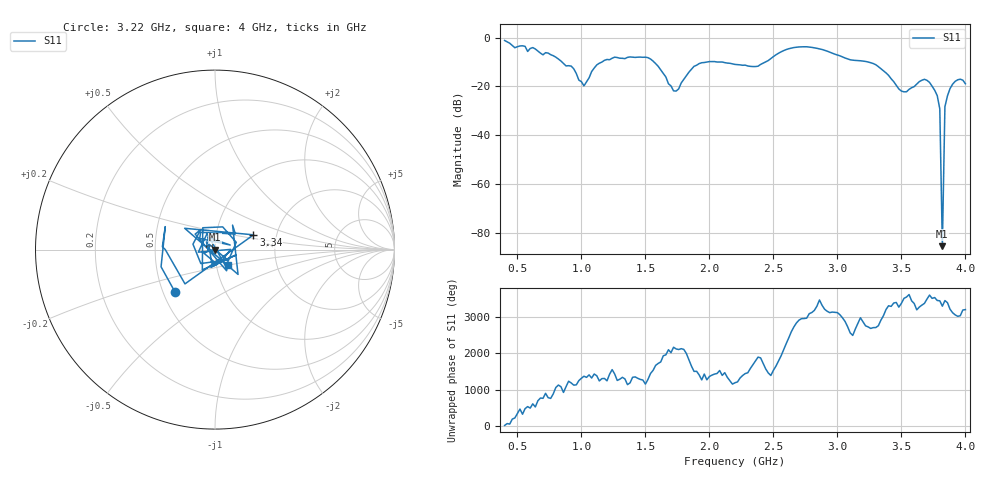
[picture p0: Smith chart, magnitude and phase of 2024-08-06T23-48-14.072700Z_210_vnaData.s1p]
!Created with skrf (http://scikit-rf.org).
# Hz S RI R 50.0
!freq ReS11 ImS11
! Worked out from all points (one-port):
!   181 points, 400 MHz to 4 GHz, reference 50 ohm
!   lowest |S11| = -85.4 dB at 3.82 GHz (marker M1), VSWR 1.00, Z = 50 + j0.00363 ohm
!   |S11| at or under -10 dB: 1.567 GHz to 1.983 GHz (416.7 MHz wide, 23.5 % of centre); 2.057 GHz to 2.44 GHz (382.8 MHz wide, 17 % of centre); 3.238 GHz to end of sweep (the widest 3 of 4)
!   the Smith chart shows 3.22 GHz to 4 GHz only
!   S11 on the Smith chart (normalised r, x): 3.22 GHz: 0.58, -0.30; 3.34 GHz: 1.52, +0.26; 4 GHz: 1.13, -0.20
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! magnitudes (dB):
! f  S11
! 400 MHz  -1.2
! 740 MHz  -6.4
! 860 MHz  -10.6
! 940 MHz  -12.8
! 1.02 GHz  -19.8
! 1.12 GHz  -11.2
! 1.3 GHz  -8.5
! 1.52 GHz  -8.2
! 1.6 GHz  -11.8
! 1.72 GHz  -21.8
! 1.76 GHz  -21.0
! 1.92 GHz  -10.7
! 2.2 GHz  -11.0
! 2.38 GHz  -11.7
! 2.66 GHz  -4.1
! 3.1 GHz  -9.1
! 3.22 GHz  -9.8
! 3.34 GHz  -12.8
! 3.5 GHz  -21.9
! 3.56 GHz  -21.2
! 3.68 GHz  -17.1
! 3.78 GHz  -23.8
! 3.8 GHz  -29.2
! 3.82 GHz  -85.4
! 3.84 GHz  -28.3
! 3.9 GHz  -19.1
! 3.96 GHz  -17.1
! 4 GHz  -18.9
